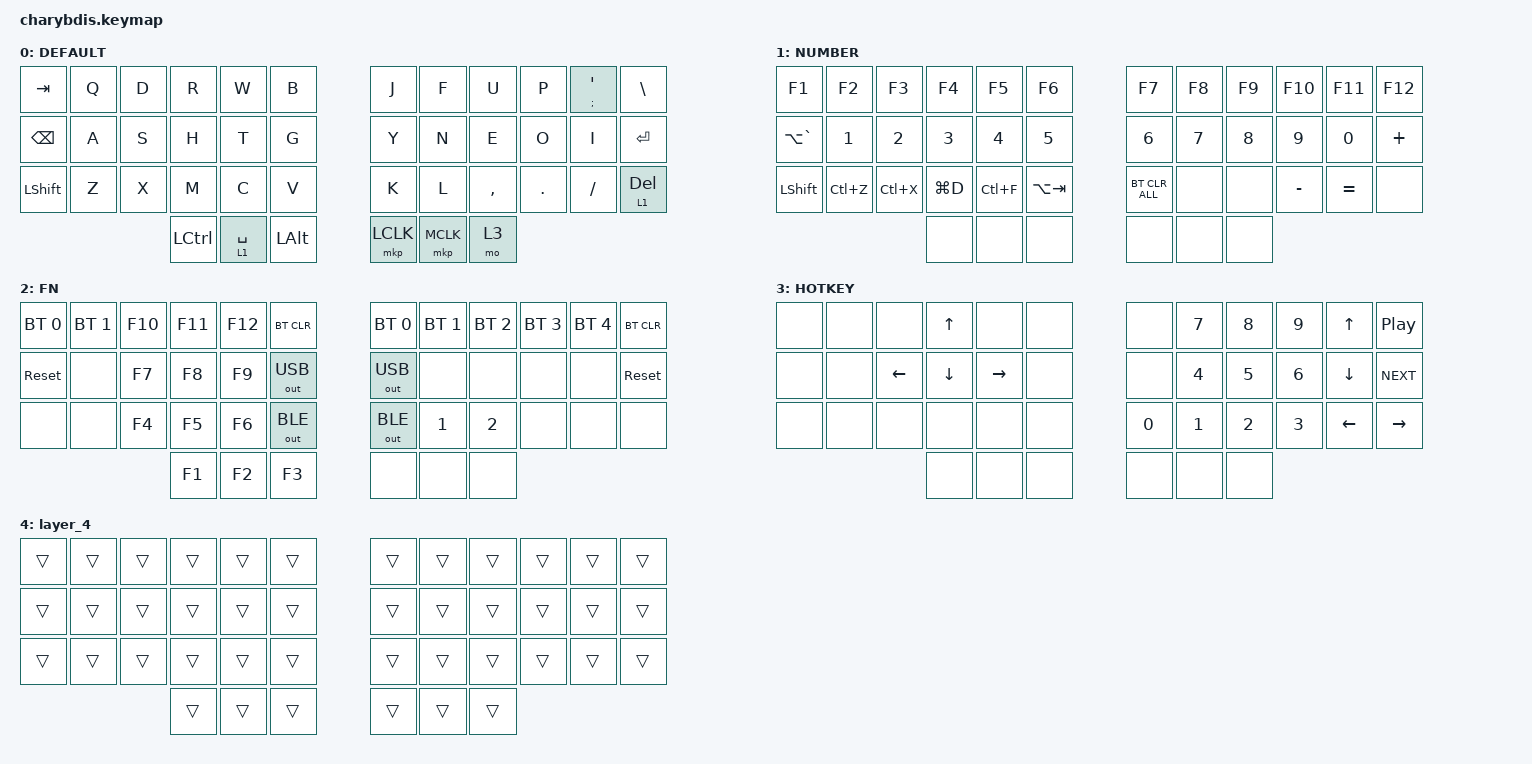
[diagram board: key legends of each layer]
#include <behaviors.dtsi>
#include <dt-bindings/zmk/bt.h>
#include <dt-bindings/zmk/keys.h>
#include <dt-bindings/zmk/mouse.h>
#include <dt-bindings/zmk/outputs.h>

#define DEFAULT 0
#define NUMBER  1
#define FN  2
#define HOTKEY  3

/ {
    combos {
        compatible = "zmk,combos";

        combo_lbrc {
            timeout-ms = <50>;
            key-positions = <4 5>; // KP: VB
            bindings = <&mt RBRC LBRC>;
            layers = <0 1 2 3>;
        };

        combo_rbrc {
            timeout-ms = <50>;
            key-positions = <6 7>; // KP: NM
            bindings = <&kp RBRC>;
            layers = <0 1 2 3>;
        };

        combo_lpar {
            timeout-ms = <50>;
            key-positions = <16 17>; // KP: FG
            bindings = <&mt RPAR LPAR>;
            layers = <0 1 2 3>;
        };

        combo_rpar {
            timeout-ms = <50>;
            key-positions = <18 19>;
            bindings = <&kp RPAR>;
            layers = <0 1 2 3>;
        };

        combo_lbkt {
            timeout-ms = <50>;
            key-positions = <28 29>; // KP: RT
            bindings = <&mt RBKT LBKT>;  // 可以用CMD+这个单手返回到代码上一个编辑的地方 或者网页返回
            layers = <0 1 2 3>;
        };

        combo_rbkt {
            timeout-ms = <50>;
            key-positions = <30 31>; // KP: YU
            bindings = <&kp RBKT>;
            layers = <0 1 2 3>;
        };

        esc {
            timeout-ms = <50>;
            key-positions = <0 1>;
            bindings = <&kp ESC>; // ESC
            layers = <0>;
        };

        up {
            bindings = <&kp UP>;
            key-positions = <3 4>;
            layers = <0>;
            timeout-ms = <50>;
        };

        down {
            bindings = <&kp DOWN>;
            key-positions = <27 28>;
            timeout-ms = <50>;
            layers = <0>;
        };

        left {
            bindings = <&kp LEFT>;
            key-positions = <14 15>;
            layers = <0>;
            timeout-ms = <50>;
        };

        right {
            bindings = <&kp RIGHT>;
            key-positions = <15 16>;
            layers = <0>;
            timeout-ms = <50>;
        };

        RightC {
            bindings = <&mkp RCLK>;
            key-positions = <39 40>;
        };

        input {
            bindings = <&kp LG(SPACE)>;
            key-positions = <13 14>;
        };

        minus {
            bindings = <&kp MINUS>;
            key-positions = <8 9>;
        };

        equal {
            bindings = <&kp EQUAL>;
            key-positions = <9 10>;
        };
    };

    keymap {
        compatible = "zmk,keymap";

        default_layer {
            label = "DEFAULT";
            bindings = <
&kp TAB        &kp Q  &kp D  &kp R      &kp W        &kp B         &kp J      &kp F      &kp U      &kp P    &mt SEMICOLON APOSTROPHE  &kp BACKSLASH
&kp BACKSPACE  &kp A  &kp S  &kp H      &kp T        &kp G         &kp Y      &kp N      &kp E      &kp O    &kp I                     &kp ENTER
&kp LSHFT      &kp Z  &kp X  &kp M      &kp C        &kp V         &kp K      &kp L      &kp COMMA  &kp DOT  &kp FSLH                  &lt 1 DELETE
                             &kp LCTRL  &lt 1 SPACE  &kp LEFT_ALT  &mkp LCLK  &mkp MCLK  &mo 3
            >;
        };

        number_layer {
            label = "NUMBER";
            bindings = <
&kp F1         &kp F2     &kp F3     &kp F4     &kp F5     &kp F6       &kp F7          &kp F8  &kp F9  &kp F10    &kp F11    &kp F12
&kp LA(GRAVE)  &kp N1     &kp N2     &kp N3     &kp N4     &kp N5       &kp N6          &kp N7  &kp N8  &kp N9     &kp N0     &kp PLUS
&kp LSHFT      &kp LC(Z)  &kp LC(X)  &kp LG(D)  &kp LC(F)  &kp LA(TAB)  &bt BT_CLR_ALL  &none   &none   &kp MINUS  &kp EQUAL  &none
                                     &none      &none      &none        &none           &none   &none
            >;
        };

        fn_layer {
            label = "FN";
            bindings = <
&bt BT_SEL 0  &bt BT_SEL 1  &kp F10  &kp F11  &kp F12  &bt BT_CLR    &bt BT_SEL 0  &bt BT_SEL 1  &bt BT_SEL 2  &bt BT_SEL 3  &bt BT_SEL 4  &bt BT_CLR
&sys_reset    &none         &kp F7   &kp F8   &kp F9   &out OUT_USB  &out OUT_USB  &none         &none         &none         &none         &sys_reset
&none         &none         &kp F4   &kp F5   &kp F6   &out OUT_BLE  &out OUT_BLE  &kp NUMBER_1  &kp NUMBER_2  &none         &none         &none
                                     &kp F1   &kp F2   &kp F3        &none         &none         &none
            >;
        };

        hotkey_layer {
            label = "HOTKEY";
            bindings = <
&none  &none  &none     &kp UP    &none      &none  &none   &kp N7        &kp N8        &kp N9        &kp UP_ARROW  &kp C_PLAY_PAUSE
&none  &none  &kp LEFT  &kp DOWN  &kp RIGHT  &none  &none   &kp NUMBER_4  &kp N5        &kp NUMBER_6  &kp DOWN      &kp C_NEXT
&none  &none  &none     &none     &none      &none  &kp N0  &kp NUMBER_1  &kp NUMBER_2  &kp NUMBER_3  &kp LEFT      &kp RIGHT
                        &none     &none      &none  &none   &none         &none
            >;
        };

        layer_4 {
            bindings = <
&trans  &trans  &trans  &trans  &trans  &trans  &trans  &trans  &trans  &trans  &trans  &trans
&trans  &trans  &trans  &trans  &trans  &trans  &trans  &trans  &trans  &trans  &trans  &trans
&trans  &trans  &trans  &trans  &trans  &trans  &trans  &trans  &trans  &trans  &trans  &trans
                        &trans  &trans  &trans  &trans  &trans  &trans
            >;
        };
    };
};
